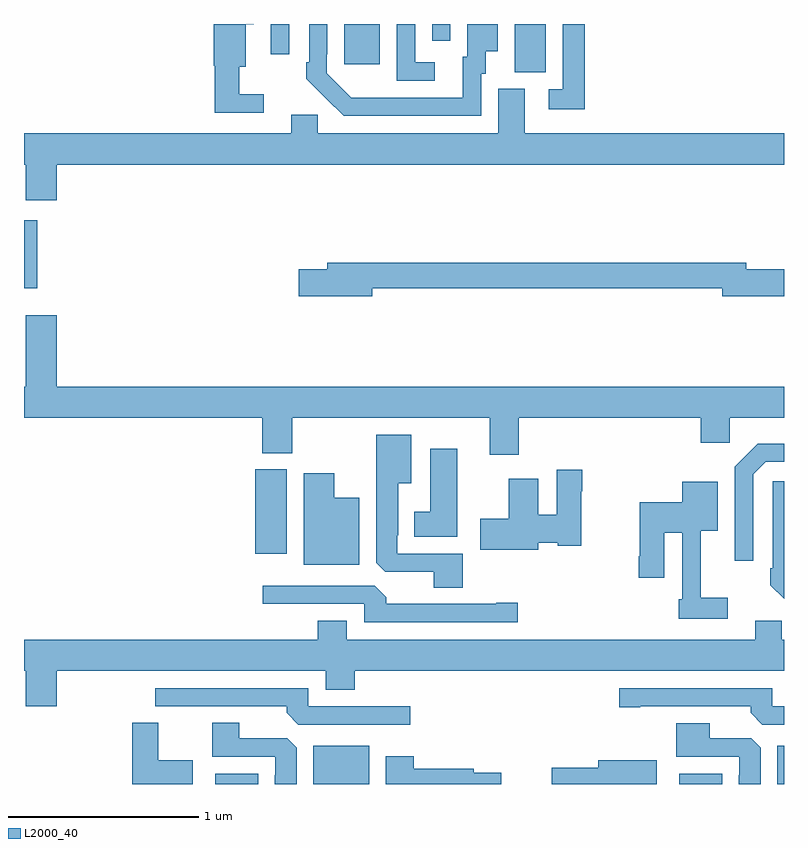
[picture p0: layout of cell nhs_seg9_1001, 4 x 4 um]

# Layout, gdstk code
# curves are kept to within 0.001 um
import gdstk
lib = gdstk.Library(unit=1e-6, precision=1e-09)
def R(c, l, rs):  # rectangles x0, y0, x1, y1
    for r in rs: c.add(gdstk.rectangle(r[:2], r[2:], *l))
def P(c, l, *ps):  # polygons
    for p in ps: c.add(gdstk.Polygon(p, *l))
L2000_40 = (2000, 40)

nhs_seg9_1001 = lib.new_cell('nhs_seg9_1001')
R(nhs_seg9_1001, L2000_40, [(166.007,1186.5,166.234,1186.555), (166.523,1186.5,166.816,1186.702), (168.449,1186.5,168.676,1186.555), (168.965,1186.5,169,1186.702), (166.217,1187.712,166.384,1188.156), (165,1189.108,165.071,1189.468), (167.582,1190.245,167.746,1190.5), (166.685,1190.289,166.873,1190.5), (166.299,1190.34,166.395,1190.5), (167.148,1190.412,167.244,1190.5)])
P(nhs_seg9_1001, L2000_40, [(167.951,1190.5),(167.835,1190.5),(167.835,1190.157),(167.763,1190.157),(167.763,1190.052),(167.951,1190.052)],
  [(166.261,1190.131),(166.132,1190.131),(166.132,1190.276),(166.168,1190.276),(166.168,1190.498),(166.21,1190.498),(166.21,1190.5),(165.998,1190.5),(165.998,1190.28),(166.003,1190.28),(166.003,1190.034),(166.261,1190.034)],
  [(167.161,1190.298),(167.058,1190.298),(167.058,1190.5),(166.962,1190.5),(166.962,1190.202),(167.161,1190.202)],
  [(167.406,1190.238),(167.431,1190.238),(167.431,1190.357),(167.494,1190.357),(167.494,1190.5),(167.333,1190.5),(167.333,1190.328),(167.309,1190.328),(167.309,1190.112),(166.722,1190.113),(166.593,1190.241),(166.593,1190.341),(166.596,1190.341),(166.596,1190.5),(166.5,1190.5),(166.5,1190.299),(166.485,1190.299),(166.485,1190.211),(166.682,1190.016),(167.406,1190.016)],
  [(165.172,1189.76),(169,1189.76),(169,1189.924),(167.635,1189.924),(167.635,1190.16),(167.495,1190.16),(167.495,1189.924),(166.545,1189.924),(166.545,1190.022),(166.406,1190.022),(166.406,1189.924),(165,1189.924),(165,1189.76),(165.008,1189.76),(165.008,1189.572),(165.172,1189.572)],
  [(166.834,1189.108),(168.674,1189.108),(168.674,1189.066),(169,1189.066),(169,1189.208),(168.802,1189.208),(168.802,1189.244),(166.595,1189.244),(166.595,1189.208),(166.446,1189.208),(166.446,1189.066),(166.834,1189.066)],
  [(167.603,1188.428),(168.563,1188.428),(168.563,1188.297),(168.714,1188.297),(168.714,1188.428),(169,1188.428),(169,1188.592),(165.172,1188.592),(165.172,1188.967),(165.008,1188.967),(165.008,1188.592),(165,1188.592),(165,1188.428),(166.253,1188.428),(166.253,1188.241),(166.413,1188.241),(166.413,1188.428),(167.45,1188.428),(167.45,1188.234),(167.603,1188.234)],
  [(167.309,1187.712),(166.965,1187.712),(166.965,1187.809),(166.969,1187.809),(166.969,1188.083),(167.038,1188.083),(167.038,1188.337),(166.853,1188.337),(166.853,1187.665),(166.902,1187.616),(167.156,1187.616),(167.156,1187.533),(167.309,1187.533)],
  [(168.837,1188.129),(168.903,1188.195),(169,1188.195),(169,1188.292),(168.862,1188.292),(168.741,1188.171),(168.741,1187.676),(168.837,1187.676)],
  [(167.281,1188.265),(167.138,1188.265),(167.138,1187.932),(167.054,1187.932),(167.054,1187.801),(167.281,1187.801)],
  [(167.707,1187.771),(167.808,1187.771),(167.808,1187.753),(167.934,1187.753),(167.934,1188.041),(167.939,1188.041),(167.939,1188.154),(167.804,1188.154),(167.804,1187.918),(167.707,1187.918),(167.707,1188.106),(167.552,1188.106),(167.552,1187.895),(167.4,1187.895),(167.4,1187.732),(167.707,1187.732)],
  [(166.765,1188.007),(166.633,1188.007),(166.633,1188.136),(166.472,1188.136),(166.472,1187.654),(166.765,1187.654)],
  [(169,1188.093),(168.942,1188.093),(168.942,1187.635),(168.927,1187.635),(168.927,1187.547),(169,1187.474)],
  [(168.703,1187.479),(168.563,1187.479),(168.563,1187.834),(168.652,1187.834),(168.652,1188.091),(168.464,1188.091),(168.464,1187.982),(168.241,1187.982),(168.241,1187.698),(168.236,1187.698),(168.236,1187.586),(168.37,1187.586),(168.37,1187.822),(168.465,1187.822),(168.465,1187.473),(168.445,1187.473),(168.445,1187.37),(168.703,1187.37)],
  [(167.599,1187.453),(167.486,1187.453),(167.486,1187.448),(166.907,1187.448),(166.907,1187.482),(166.845,1187.544),(166.257,1187.544),(166.257,1187.448),(166.791,1187.448),(166.791,1187.352),(167.599,1187.352)],
  [(166.589,1186.997),(166.742,1186.997),(166.742,1187.096),(169,1187.096),(169,1187.26),(168.987,1187.26),(168.987,1187.358),(168.848,1187.358),(168.848,1187.26),(166.699,1187.26),(166.699,1187.359),(166.547,1187.359),(166.547,1187.26),(165,1187.26),(165,1187.096),(165.008,1187.096),(165.008,1186.908),(165.172,1186.908),(165.172,1187.096),(166.589,1187.096)],
  [(167.032,1186.908),(166.497,1186.908),(166.497,1187.004),(165.69,1187.004),(165.69,1186.908),(166.382,1186.908),(166.382,1186.874),(166.443,1186.812),(167.032,1186.812)],
  [(169,1186.908),(168.939,1186.908),(168.939,1187.004),(168.132,1187.004),(168.132,1186.903),(168.244,1186.903),(168.244,1186.908),(168.824,1186.908),(168.824,1186.874),(168.885,1186.812),(169,1186.812)],
  [(166.435,1186.691),(166.386,1186.74),(166.132,1186.74),(166.132,1186.823),(165.992,1186.823),(165.992,1186.644),(166.323,1186.644),(166.323,1186.547),(166.319,1186.547),(166.319,1186.5),(166.435,1186.5)],
  [(165.889,1186.624),(165.706,1186.624),(165.706,1186.822),(165.569,1186.822),(165.569,1186.5),(165.889,1186.5)],
  [(168.877,1186.691),(168.828,1186.74),(168.61,1186.74),(168.61,1186.819),(168.434,1186.819),(168.434,1186.644),(168.765,1186.644),(168.765,1186.547),(168.761,1186.547),(168.761,1186.5),(168.877,1186.5)],
  [(167.513,1186.56),(167.366,1186.56),(167.366,1186.58),(167.051,1186.58),(167.051,1186.645),(166.904,1186.645),(166.904,1186.5),(167.513,1186.5)],
  [(168.331,1186.624),(168.023,1186.624),(168.023,1186.586),(167.778,1186.586),(167.778,1186.5),(168.331,1186.5)])

lib.write_gds('nhs_seg9_1001.gds')
